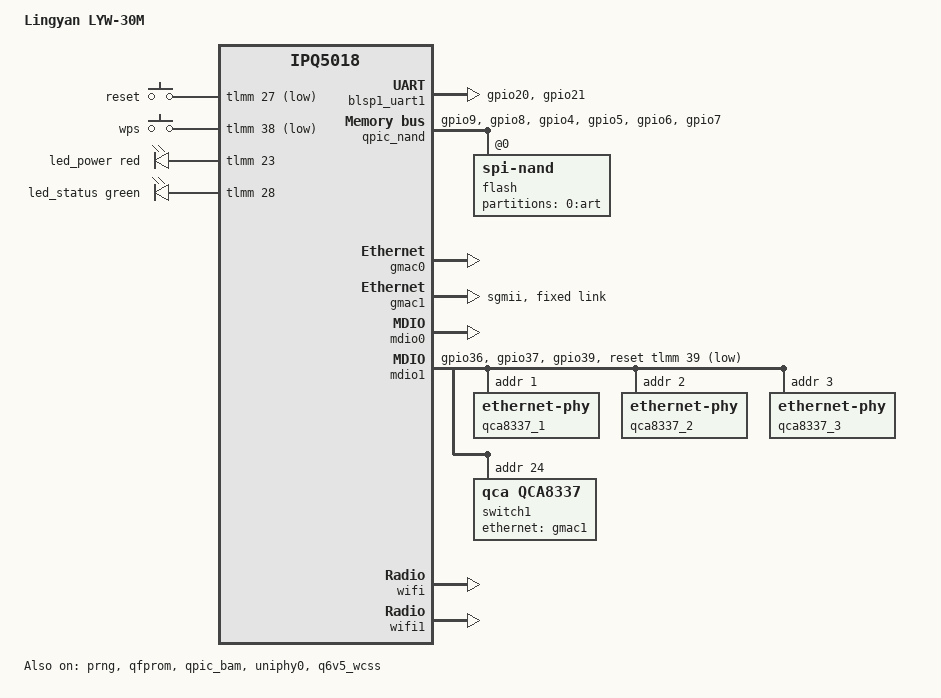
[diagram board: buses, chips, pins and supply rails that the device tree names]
// SPDX-License-Identifier: GPL-2.0-or-later OR MIT

/dts-v1/;

#include "ipq5018.dtsi"
#include "ipq5018-ess.dtsi"
#include "ipq5018-qcn6122.dtsi"
#include "ipq5018-nss.dtsi"

#include <dt-bindings/gpio/gpio.h>
#include <dt-bindings/input/input.h>
#include <dt-bindings/leds/common.h>

/*
 * Lingyan LYW-30M, booted by the stock firmware as AP-MP03.3: 256 MiB of
 * RAM, 128 MiB SPI NAND with the stock dual-firmware layout, QCN6122 for
 * 5 GHz. WAN is switch port 2 of the QCA8337 on GMAC1; GMAC0 uses the
 * IPQ5018 GE PHY and is lan3. The QCA8337's CPU port is switch port 6
 * (SGMII); switch port 1 is not wired to a socket.
 */

/ {
	model = "Lingyan LYW-30M";
	compatible = "lingyan,lyw-30m", "qcom,ipq5018";

	reserved-memory {
		q6_region_qcn6122_1: q6-region-qcn6122-1@4d200000 {
			reg = <0x0 0x4d200000 0x0 0xd00000>;
			no-map;
		};

		m3_dump_qcn6122_1: m3-dump-qcn6122-1@4df00000 {
			reg = <0x0 0x4df00000 0x0 0x100000>;
			no-map;
		};
	};

	aliases {
		serial0 = &blsp1_uart1;
		label-mac-device = &gmac1;
		led-boot = &led_power;
		led-failsafe = &led_status;
		led-running = &led_power;
		led-upgrade = &led_status;
	};

	chosen {
		bootargs-append = " root=/dev/ubiblock0_1 swiotlb=1 coherent_pool=512K";
		stdout-path = "serial0:115200n8";
	};

	keys {
		compatible = "gpio-keys";
		pinctrl-0 = <&button_pins>;
		pinctrl-names = "default";

		button-reset {
			label = "reset";
			gpios = <&tlmm 27 GPIO_ACTIVE_LOW>;
			linux,code = <KEY_RESTART>;
			debounce-interval = <60>;
		};

		button-wps {
			label = "wps";
			gpios = <&tlmm 38 GPIO_ACTIVE_LOW>;
			linux,code = <KEY_WPS_BUTTON>;
			debounce-interval = <60>;
		};
	};

	leds {
		compatible = "gpio-leds";
		pinctrl-0 = <&led_pins>;
		pinctrl-names = "default";

		led_power: led-power {
			color = <LED_COLOR_ID_RED>;
			function = LED_FUNCTION_POWER;
			gpios = <&tlmm 23 GPIO_ACTIVE_HIGH>;
		};

		/*
		 * The green "network" LED has no verified relation to the WAN
		 * port (Jioyzen labels it green:network), and it serves as the
		 * failsafe/upgrade indicator, so declare it as status.
		 */
		led_status: led-status {
			color = <LED_COLOR_ID_GREEN>;
			function = LED_FUNCTION_STATUS;
			gpios = <&tlmm 28 GPIO_ACTIVE_HIGH>;
		};
	};
};

/* the stock TZ takes 4 MiB here (upstream reserves 2 MiB) */
&tz_region {
	reg = <0x0 0x4ac00000 0x0 0x400000>;
};

&sleep_clk {
	clock-frequency = <32000>;
};

&xo_board_clk {
	clock-div = <4>;
	clock-mult = <1>;
};

&blsp1_uart1 {
	status = "okay";

	pinctrl-0 = <&serial_0_pins>;
	pinctrl-names = "default";
};

&prng {
	status = "okay";
};

&qfprom {
	status = "okay";
};

&qpic_bam {
	status = "okay";
};

&qpic_nand {
	pinctrl-0 = <&qpic_pins>;
	pinctrl-names = "default";
	status = "okay";

	flash@0 {
		compatible = "spi-nand";
		reg = <0>;
		nand-ecc-engine = <&qpic_nand>;
		nand-bus-width = <8>;

		partitions {
			compatible = "qcom,smem-part";

			partition-0-art {
				label = "0:art";
				read-only;

				nvmem-layout {
					compatible = "fixed-layout";
					#address-cells = <1>;
					#size-cells = <1>;

					hw_mac_gmac0: mac-address@0 {
						reg = <0x0 0x6>;
					};

					hw_mac_gmac1: mac-address@6 {
						reg = <0x6 0x6>;
					};
				};
			};
		};
	};
};

&uniphy0 {
	status = "okay";

	assigned-clocks = <&uniphy0 UNIPHY_CLK_REF>;
	assigned-clock-rates = <UNIPHY_REFCLK_25MHZ>;
};

/* MAC0 -> IPQ5018 GE PHY (LAN3) */
&gmac0 {
	status = "okay";

	label = "lan3";

	nvmem-cells = <&hw_mac_gmac0>;
	nvmem-cell-names = "mac-address";
};

/* MAC1 ---SGMII---> QCA8337 port 6 */
&gmac1 {
	status = "okay";

	nvmem-cells = <&hw_mac_gmac1>;
	nvmem-cell-names = "mac-address";
	phy-mode = "sgmii";

	fixed-link {
		speed = <1000>;
		full-duplex;
	};
};

&mdio0 {
	status = "okay";
};

&mdio1 {
	status = "okay";

	pinctrl-0 = <&mdio1_pins>, <&switch_reset_pins>;
	pinctrl-names = "default";
	reset-gpios = <&tlmm 39 GPIO_ACTIVE_LOW>;
	reset-delay-us = <10000>;
	reset-post-delay-us = <10000>;

	qca8337_1: ethernet-phy@1 {
		reg = <1>;
	};

	qca8337_2: ethernet-phy@2 {
		reg = <2>;
	};

	qca8337_3: ethernet-phy@3 {
		reg = <3>;
	};

	switch1: ethernet-switch@18 {
		compatible = "qca,qca8337";
		reg = <0x18>;
		#address-cells = <1>;
		#size-cells = <0>;

		ethernet-ports {
			#address-cells = <1>;
			#size-cells = <0>;

			ethernet-port@2 {
				reg = <2>;
				label = "wan";
				phy-handle = <&qca8337_1>;
			};

			ethernet-port@3 {
				reg = <3>;
				label = "lan1";
				phy-handle = <&qca8337_2>;
			};

			ethernet-port@4 {
				reg = <4>;
				label = "lan2";
				phy-handle = <&qca8337_3>;
			};

			ethernet-port@6 {
				reg = <6>;
				phy-mode = "sgmii";
				ethernet = <&gmac1>;
				qca,sgmii-enable-pll;

				fixed-link {
					speed = <1000>;
					full-duplex;
				};
			};
		};
	};
};

&tlmm {
	button_pins: button-state {
		button-pins {
			pins = "gpio27", "gpio38";
			function = "gpio";
			drive-strength = <8>;
			bias-pull-up;
		};
	};

	led_pins: led-state {
		pins = "gpio23", "gpio28";
		function = "gpio";
		drive-strength = <8>;
		bias-disable;
	};

	mdio1_pins: mdio-state {
		mdc-pins {
			pins = "gpio36";
			function = "mdc";
			drive-strength = <8>;
			bias-pull-up;
		};

		mdio-pins {
			pins = "gpio37";
			function = "mdio";
			drive-strength = <8>;
			bias-pull-up;
		};
	};

	switch_reset_pins: switch-reset-state {
		pins = "gpio39";
		function = "gpio";
		drive-strength = <8>;
		bias-pull-down;
	};

	qpic_pins: qpic-state {
		clock-pins {
			pins = "gpio9";
			function = "qspi_clk";
			drive-strength = <8>;
			bias-disable;
		};

		cs-pins {
			pins = "gpio8";
			function = "qspi_cs";
			drive-strength = <8>;
			bias-disable;
		};

		data-pins {
			pins = "gpio4", "gpio5", "gpio6", "gpio7";
			function = "qspi_data";
			drive-strength = <8>;
			bias-disable;
		};
	};

	serial_0_pins: uart0-state {
		pins = "gpio20", "gpio21";
		function = "blsp0_uart0";
		drive-strength = <8>;
		bias-disable;
	};

};

&q6v5_wcss {
	/* QCN6122 on PCIe1 as user PD 2, reset on GPIO18 (stock mp03.3) */
	boot-args = <0x2 4 2 18 0 0>;
	status = "okay";
};

/* 256 MiB of RAM: low-memory firmware mode */
&wifi {
	status = "okay";

	qcom,rproc = <&q6v5_wcss>;
	qcom,ath11k-calibration-variant = "LINGYAN-LYW-30M";
	qcom,ath11k-fw-memory-mode = <2>;

	ieee80211-freq-limit = <2400000 2483000>;
};

&wifi1 {
	status = "okay";

	qcom,rproc = <&q6v5_wcss>;
	qcom,ath11k-calibration-variant = "LINGYAN-LYW-30M";
	qcom,ath11k-fw-memory-mode = <2>;

	ieee80211-freq-limit = <5150000 5850000>;

	memory-region = <&q6_region_qcn6122_1>, <&q6_region_ipq5018>, <&m3_dump_qcn6122_1>;
	memory-region-names = "q6-region", "m3-region", "m3-dump";
};

/*
 * 256 MiB of RAM: NSS heap 16 MiB. Jioyzen saw a throughput regression with
 * the 8 MiB reservation on this board.
 */
&nss_region {
	reg = <0x0 0x40000000 0x0 0x1000000>;
};
